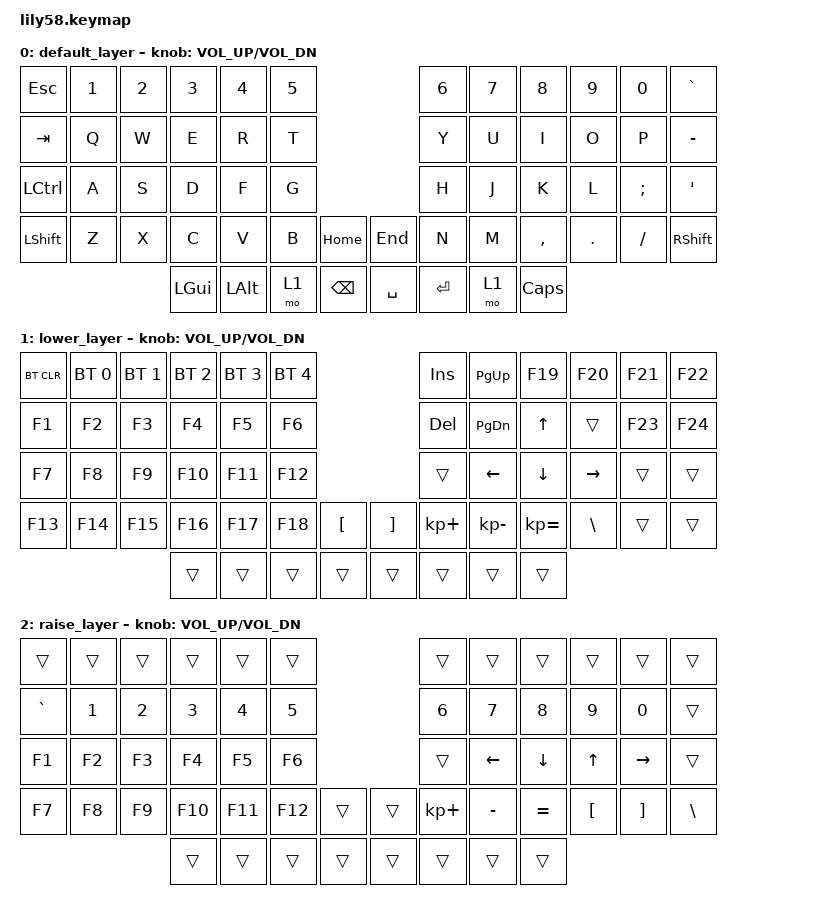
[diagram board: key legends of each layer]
/*
 * Copyright (c) 2020 The ZMK Contributors
 *
 * SPDX-License-Identifier: MIT
 */

#include <behaviors.dtsi>
#include <dt-bindings/zmk/keys.h>
#include <dt-bindings/zmk/bt.h>
#include <dt-bindings/zmk/ext_power.h>

/ {
	keymap {
		compatible = "zmk,keymap";

		default_layer {
// ----------------------------------------------------------------------------------------------------------------
// |  ESC  |  1  |  2  |  3   |  4   |  5   |                       |  6   |  7    |  8    |  9   |   0   |   `   |
// |  TAB  |  Q  |  W  |  E   |  R   |  T   |                       |  Y   |  U    |  I    |  O   |   P   |   -   |
// |  CTRL |  A  |  S  |  D   |  F   |  G   |                       |  H   |  J    |  K    |  L   |   ;   |   '   |
// | SHIFT |  Z  |  X  |  C   |  V   |  B   |  Home  |      |  END  |  N   |  M    |  ,    |  .   |   /   | SHIFT |
//                     | ALT  | GUI  | LOWER|  BSPC  |      | SPACE | ENTER| LOWER | CAPS  |
			bindings = <
&kp ESC   &kp N1 &kp N2 &kp N3   &kp N4   &kp N5                     &kp N6  &kp N7   &kp N8    &kp N9  &kp N0   &kp GRAVE
&kp TAB   &kp Q  &kp W  &kp E    &kp R    &kp T                      &kp Y   &kp U    &kp I     &kp O   &kp P    &kp MINUS
&kp LCTRL &kp A  &kp S  &kp D    &kp F    &kp G                      &kp H   &kp J    &kp K     &kp L   &kp SEMI &kp SQT
&kp LSHFT &kp Z  &kp X  &kp C    &kp V    &kp B  &kp HOME  &kp END   &kp N   &kp M    &kp COMMA &kp DOT &kp FSLH &kp RSHFT
                        &kp LGUI &kp LALT &mo 1  &kp BSPC  &kp SPACE &kp RET &mo 1    &kp CAPS
			>;

			sensor-bindings = <&inc_dec_kp C_VOL_UP C_VOL_DN>;
		};

		lower_layer {
// ------------------------------------------------------------------------------------------------------------------------------------------
// | BTCLR | BT1 | BT2 |  BT3 |  BT4 |  BT5 |                                              |  INS  | PG_UP |  F19  |  F20 |  F21  |  F22  |
// |  F1   |  F2 |  F3 |  F4  |  F5  |  F6  |                                              |  DEL  | PG_DN |   ^   |      |  F23  |  F24  |
// |  F7   |  F8 |  F9 |  F10 |  F11 |  F12 |                                              | trans |   <-  |   v   |  ->  |       |       |
// |  F13  | F14 | F15 |  F16 |  F17 |  F18 |  LBKT  |                             |  RBKT |   +   |   -   |   =   |  \|  |       |       |
//                     | trans| trans| trans| trans  |                             | trans | trans | trans | trans |
			bindings = <
&bt BT_CLR &bt BT_SEL 0 &bt BT_SEL 1 &bt BT_SEL 2 &bt BT_SEL 3 &bt BT_SEL 4                 &kp INS     &kp PG_UP    &kp F19      &kp F20   &kp F21   &kp F22
&kp F1     &kp F2       &kp F3       &kp F4       &kp F5       &kp F6                       &kp DEL     &kp PG_DN    &kp UP       &trans    &kp F23   &kp F24 
&kp F7     &kp F8       &kp F9       &kp F10      &kp F11      &kp F12                      &trans      &kp LEFT     &kp DOWN     &kp RIGHT &trans    &trans    
&kp F13    &kp F14      &kp F15      &kp F16      &kp F17      &kp F18   &kp LBKT &kp RBKT  &kp KP_PLUS &kp KP_MINUS &kp KP_EQUAL &kp BSLH  &trans    &trans  
                         			 &trans       &trans       &trans    &trans   &trans    &trans      &trans       &trans
			>;

			sensor-bindings = <&inc_dec_kp C_VOL_UP C_VOL_DN>;
		};

		raise_layer {
// ------------------------------------------------------------------------------------------------------------
// |       |     |     |      |      |      |                   |      |       |       |      |       |       |
// |   `   |  1  |  2  |  3   |  4   |  5   |                   |  6   |   7   |   8   |  9   |   0   |       |
// |   F1  |  F2 |  F3 |  F4  |  F5  |  F6  |                   |      |   <-  |   ^   |  v   |  ->   |       |
// |   F7  |  F8 |  F9 |  F10 |  F11 |  F12 |        |  |       |  +   |   -   |   =   |  [   |   ]   |   \   |
//                     |      |      |      |        |  |       |      |       |       |
			bindings = <
&trans    &trans &trans &trans  &trans  &trans                       &trans      &trans    &trans    &trans   &trans    &trans
&kp GRAVE &kp N1 &kp N2 &kp N3  &kp N4  &kp N5                       &kp N6      &kp N7    &kp N8    &kp N9   &kp N0    &trans
&kp F1    &kp F2 &kp F3 &kp F4  &kp F5  &kp F6                       &trans      &kp LEFT  &kp DOWN  &kp UP   &kp RIGHT &trans
&kp F7    &kp F8 &kp F9 &kp F10 &kp F11 &kp F12   &trans   &trans    &kp KP_PLUS &kp MINUS &kp EQUAL &kp LBKT &kp RBKT  &kp BSLH
                        &trans  &trans  &trans    &trans   &trans    &trans      &trans    &trans
			>;

			sensor-bindings = <&inc_dec_kp C_VOL_UP C_VOL_DN>;
		};
	};
};
